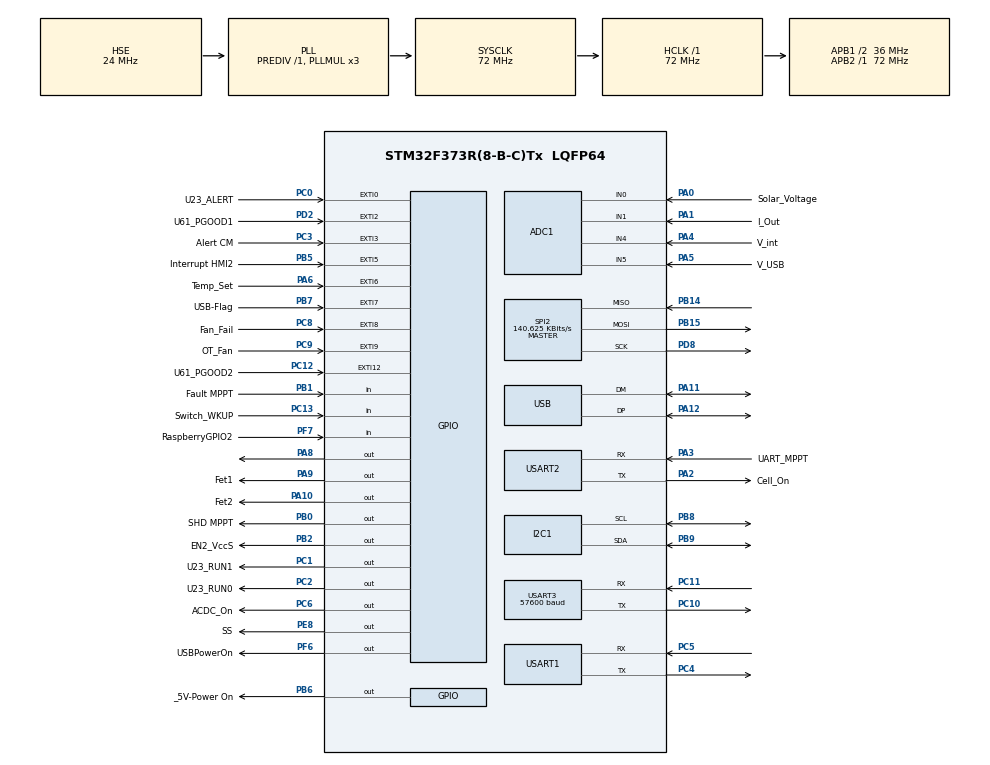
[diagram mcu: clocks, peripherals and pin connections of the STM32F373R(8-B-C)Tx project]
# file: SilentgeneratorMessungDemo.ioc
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ADC1.Channel-11\#ChannelRegularConversion=ADC_CHANNEL_0
ADC1.Channel-12\#ChannelRegularConversion=ADC_CHANNEL_1
ADC1.Channel-13\#ChannelRegularConversion=ADC_CHANNEL_4
ADC1.Channel-14\#ChannelRegularConversion=ADC_CHANNEL_5
ADC1.Channel-15\#ChannelRegularConversion=ADC_CHANNEL_TEMPSENSOR
ADC1.Channel-16\#ChannelRegularConversion=ADC_CHANNEL_5
ADC1.Channel-17\#ChannelRegularConversion=ADC_CHANNEL_VBAT
ADC1.ContinuousConvMode=ENABLE
ADC1.DataAlign=ADC_DATAALIGN_RIGHT
ADC1.DiscontinuousConvMode=DISABLE
ADC1.EnableAnalogWatchDog=false
ADC1.EnableRegularConversion=ENABLE
ADC1.InjNumberOfConversion=0
ADC1.NbrOfConversion=7
ADC1.NbrOfConversionFlag=1
ADC1.Rank-11\#ChannelRegularConversion=1
ADC1.Rank-12\#ChannelRegularConversion=2
ADC1.Rank-13\#ChannelRegularConversion=3
ADC1.Rank-14\#ChannelRegularConversion=4
ADC1.Rank-15\#ChannelRegularConversion=5
ADC1.Rank-16\#ChannelRegularConversion=6
ADC1.Rank-17\#ChannelRegularConversion=7
ADC1.SamplingTime-11\#ChannelRegularConversion=ADC_SAMPLETIME_7CYCLES_5
ADC1.SamplingTime-12\#ChannelRegularConversion=ADC_SAMPLETIME_7CYCLES_5
ADC1.SamplingTime-13\#ChannelRegularConversion=ADC_SAMPLETIME_7CYCLES_5
ADC1.SamplingTime-14\#ChannelRegularConversion=ADC_SAMPLETIME_7CYCLES_5
ADC1.SamplingTime-15\#ChannelRegularConversion=ADC_SAMPLETIME_7CYCLES_5
ADC1.SamplingTime-16\#ChannelRegularConversion=ADC_SAMPLETIME_7CYCLES_5
ADC1.SamplingTime-17\#ChannelRegularConversion=ADC_SAMPLETIME_7CYCLES_5
ADC1.ScanConvMode=ADC_SCAN_ENABLE
ADC1.master=1
Dma.ADC1.0.Direction=DMA_PERIPH_TO_MEMORY
Dma.ADC1.0.Instance=DMA1_Channel1
Dma.ADC1.0.MemDataAlignment=DMA_MDATAALIGN_WORD
Dma.ADC1.0.MemInc=DMA_MINC_ENABLE
Dma.ADC1.0.Mode=DMA_CIRCULAR
Dma.ADC1.0.PeriphDataAlignment=DMA_PDATAALIGN_WORD
Dma.ADC1.0.PeriphInc=DMA_PINC_DISABLE
Dma.ADC1.0.Priority=DMA_PRIORITY_HIGH
Dma.Request0=ADC1
Mcu.Family=STM32F3
Mcu.Name=STM32F373R(8-B-C)Tx
Mcu.Package=LQFP64
NVIC.ADC1_IRQn=true\:0\:0\:false\:false\:true\:true
NVIC.DMA1_Channel1_IRQn=true\:0\:0\:false\:false\:true\:false
NVIC.EXTI9_5_IRQn=true\:3\:0\:true\:false\:true\:true
NVIC.PriorityGroup=NVIC_PRIORITYGROUP_4
PA0.GPIO_Label=Solar_Voltage
PA0.Signal=SharedAnalog_PA0
PA1.GPIO_Label=I_Out
PA1.Signal=SharedAnalog_PA1
PA10.GPIO_Label=Fet2
PA10.Signal=GPIO_Output
PA11.Mode=Device
PA11.Signal=USB_DM
PA12.Mode=Device
PA12.Signal=USB_DP
PA2.GPIO_Label=Cell_On
PA2.Mode=Asynchronous
PA2.Signal=USART2_TX
PA3.GPIO_Label=UART_MPPT
PA3.Mode=Asynchronous
PA3.Signal=USART2_RX
PA4.GPIO_Label=V_int
PA4.Signal=SharedAnalog_PA4
PA5.GPIO_Label=V_USB
PA5.Signal=SharedAnalog_PA5
PA6.GPIO_Label=Temp_Set
PA6.Signal=GPXTI6
PA8.Signal=GPIO_Output
PA9.GPIO_Label=Fet1
PA9.Signal=GPIO_Output
PB0.GPIO_Label=SHD MPPT
PB0.Signal=GPIO_Output
PB1.GPIO_Label=Fault MPPT
PB1.Signal=GPIO_Input
PB14.Mode=Full_Duplex_Master
PB14.Signal=SPI2_MISO
PB15.Mode=Full_Duplex_Master
PB15.Signal=SPI2_MOSI
PB2.GPIO_Label=EN2_VccS
PB2.Signal=GPIO_Output
PB5.GPIO_Label=Interrupt HMI2
PB5.GPIO_ModeDefaultEXTI=GPIO_MODE_IT_FALLING
PB5.Signal=GPXTI5
PB6.GPIO_Label=_5V-Power On
PB6.Signal=GPIO_Output
PB7.GPIO_Label=USB-Flag
PB7.Signal=GPXTI7
PB8.GPIO_PuPdOD=GPIO_NOPULL
PB8.Mode=I2C
PB8.Signal=I2C1_SCL
PB9.GPIO_PuPdOD=GPIO_NOPULL
PB9.Mode=I2C
PB9.Signal=I2C1_SDA
PC0.GPIO_Label=U23_ALERT
PC0.Signal=GPXTI0
PC1.GPIO_Label=U23_RUN1
PC1.Signal=GPIO_Output
PC10.Mode=Asynchronous
PC10.Signal=USART3_TX
PC11.Mode=Asynchronous
PC11.Signal=USART3_RX
PC12.GPIO_Label=U61_PGOOD2
PC12.Signal=GPXTI12
PC13.GPIO_Label=Switch_WKUP
PC13.Signal=GPIO_Input
PC14-OSC32_IN.Mode=LSE-External-Oscillator
PC14-OSC32_IN.Signal=RCC_OSC32_IN
PC15-OSC32_OUT.Mode=LSE-External-Oscillator
PC15-OSC32_OUT.Signal=RCC_OSC32_OUT
PC2.GPIO_Label=U23_RUN0
PC2.Signal=GPIO_Output
PC3.GPIO_Label=Alert CM
PC3.Signal=GPXTI3
PC4.Mode=Asynchronous
PC4.Signal=USART1_TX
PC5.Mode=Asynchronous
PC5.Signal=USART1_RX
PC6.GPIO_Label=ACDC_On
PC6.Signal=GPIO_Output
PC8.GPIO_Label=Fan_Fail
PC8.Signal=GPXTI8
PC9.GPIO_Label=OT_Fan
PC9.Signal=GPXTI9
PD2.GPIO_Label=U61_PGOOD1
PD2.Signal=GPXTI2
PD8.Mode=Full_Duplex_Master
PD8.Signal=SPI2_SCK
PE8.GPIO_Label=SS
PE8.Signal=GPIO_Output
PF0-OSC_IN.Mode=HSE-External-Oscillator
PF0-OSC_IN.Signal=RCC_OSC_IN
PF1-OSC_OUT.Mode=HSE-External-Oscillator
PF1-OSC_OUT.Signal=RCC_OSC_OUT
PF6.GPIO_Label=USBPowerOn
PF6.Signal=GPIO_Output
PF7.GPIO_Label=RaspberryGPIO2
PF7.Signal=GPIO_Input
ProjectManager.HeapSize=0x200
ProjectManager.StackSize=0x400
ProjectManager.TargetToolchain=TrueSTUDIO
RCC.ADCPresc=RCC_ADC1PCLK2_DIV4
RCC.AHBFreq_Value=72000000
RCC.APB1CLKDivider=RCC_HCLK_DIV2
RCC.APB1Freq_Value=36000000
RCC.APB1TimFreq_Value=72000000
RCC.APB2Freq_Value=72000000
RCC.APB2TimFreq_Value=72000000
RCC.CortexFreq_Value=72000000
RCC.HCLKFreq_Value=72000000
RCC.HSE_VALUE=24000000
RCC.HSI_VALUE=8000000
RCC.PLLMUL=RCC_PLL_MUL3
RCC.PRESCALERUSB=RCC_USBCLKSOURCE_PLL_DIV1_5
RCC.SYSCLKFreq_VALUE=72000000
RCC.SYSCLKSource=RCC_SYSCLKSOURCE_PLLCLK
RCC.USBFreq_Value=48000000
SH.SharedAnalog_PA0.0=GPIO_Analog
SH.SharedAnalog_PA0.1=ADC1_IN0,IN0
SH.SharedAnalog_PA1.0=GPIO_Analog
SH.SharedAnalog_PA1.1=ADC1_IN1,IN1
SH.SharedAnalog_PA4.0=GPIO_Analog
SH.SharedAnalog_PA4.1=ADC1_IN4,IN4
SH.SharedAnalog_PA5.0=GPIO_Analog
SH.SharedAnalog_PA5.1=ADC1_IN5,IN5
SPI2.BaudRatePrescaler=SPI_BAUDRATEPRESCALER_256
SPI2.CalculateBaudRate=140.625 KBits/s
SPI2.DataSize=SPI_DATASIZE_8BIT
SPI2.Direction=SPI_DIRECTION_2LINES
SPI2.Mode=SPI_MODE_MASTER
SPI2.VirtualType=VM_MASTER
USART1.VirtualMode-Asynchronous=VM_ASYNC
USART2.VirtualMode-Asynchronous=VM_ASYNC
USART3.BaudRate=57600
USART3.VirtualMode-Asynchronous=VM_ASYNC
VP_ADC1_TempSens_Input.Mode=IN-TempSens
VP_ADC1_Vbat_Input.Mode=IN-Vbat
board=SilentgeneratorMessungDemo

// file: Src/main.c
/* USER CODE BEGIN Header */
/**
  ******************************************************************************
  * @file           : main.c
  * @brief          : Main program body
  ******************************************************************************
  ** This notice applies to any and all portions of this file
  * that are not between comment pairs USER CODE BEGIN and
  * USER CODE END. Other portions of this file, whether
  * inserted by the user or by software development tools
  * are owned by their respective copyright owners.
  *
  * COPYRIGHT(c) 2019 STMicroelectronics
  *
  * Redistribution and use in source and binary forms, with or without modification,
  * are permitted provided that the following conditions are met:
  *   1. Redistributions of source code must retain the above copyright notice,
  *      this list of conditions and the following disclaimer.
  *   2. Redistributions in binary form must reproduce the above copyright notice,
  *      this list of conditions and the following disclaimer in the documentation
  *      and/or other materials provided with the distribution.
  *   3. Neither the name of STMicroelectronics nor the names of its contributors
  *      may be used to endorse or promote products derived from this software
  *      without specific prior written permission.
  *
  * THIS SOFTWARE IS PROVIDED BY THE COPYRIGHT HOLDERS AND CONTRIBUTORS "AS IS"
  * AND ANY EXPRESS OR IMPLIED WARRANTIES, INCLUDING, BUT NOT LIMITED TO, THE
  * IMPLIED WARRANTIES OF MERCHANTABILITY AND FITNESS FOR A PARTICULAR PURPOSE ARE
  * DISCLAIMED. IN NO EVENT SHALL THE COPYRIGHT HOLDER OR CONTRIBUTORS BE LIABLE
  * FOR ANY DIRECT, INDIRECT, INCIDENTAL, SPECIAL, EXEMPLARY, OR CONSEQUENTIAL
  * DAMAGES (INCLUDING, BUT NOT LIMITED TO, PROCUREMENT OF SUBSTITUTE GOODS OR
  * SERVICES; LOSS OF USE, DATA, OR PROFITS; OR BUSINESS INTERRUPTION) HOWEVER
  * CAUSED AND ON ANY THEORY OF LIABILITY, WHETHER IN CONTRACT, STRICT LIABILITY,
  * OR TORT (INCLUDING NEGLIGENCE OR OTHERWISE) ARISING IN ANY WAY OUT OF THE USE
  * OF THIS SOFTWARE, EVEN IF ADVISED OF THE POSSIBILITY OF SUCH DAMAGE.
  *
  ******************************************************************************
  */
/* USER CODE END Header */

#include "main.h"

/* USER CODE BEGIN Includes */
#include "silentgenerator.h"
#include "max11615.h"     // ADC
#include "max7313.h"      // I/O Port Expander
#include "max3440x.h"     //
#include "ltc3886.h"      // DCDC Buck Converter
#include "max6615.h"      // PWM Fan Controller
// #include "ringfs.h"

#include <string.h>
#include <stdio.h>
#include <stdbool.h>

/* Flash implementation & ops. */
#define FLASH_SECTOR_SIZE      65535
#define FLASH_TOTAL_SECTORS    64
#define FLASH_PARTITION_OFFSET 8
#define FLASH_PARTITION_SIZE   4

/* USER CODE END Includes */

ADC_HandleTypeDef hadc1;
DMA_HandleTypeDef hdma_adc1;

I2C_HandleTypeDef hi2c1;

SPI_HandleTypeDef hspi2;

UART_HandleTypeDef huart1;
UART_HandleTypeDef huart2;
UART_HandleTypeDef huart3;

PCD_HandleTypeDef hpcd_USB_FS;

/* USER CODE BEGIN PV */
/* Private variables ---------------------------------------------------------*/
uint32_t ADC_Buf[8];
/* USER CODE END PV */

void SystemClock_Config(void);
static void MX_GPIO_Init(void);
static void MX_DMA_Init(void);
static void MX_USART1_UART_Init(void);
static void MX_USART2_UART_Init(void);
static void MX_I2C1_Init(void);
static void MX_SPI2_Init(void);
static void MX_USART3_UART_Init(void);
static void MX_ADC1_Init(void);
static void MX_USB_PCD_Init(void);
/* USER CODE BEGIN PFP */
/* Private function prototypes -----------------------------------------------*/

/* USER CODE END PFP */

/* USER CODE BEGIN 0 */

/* Data record format. */
struct log_entry {
    int level;
    char message[16];
};
#define LOG_ENTRY_VERSION 1

MAX11615 adcDriver_1;
MAX3440X adcMonitor_1;
MAX7313 huiIODriver_1;
MAX7313 huiIODriver_2;
MAX7313 fetDriver;
MAX7313* ledDrivers[3];

MAX6615 fanDriver;
LTC3886 dcdc12VDriver;

volatile SGButtons 	button_states_old, \
										button_states_new, \
										button_action_required;
static uint8_t 	SG_Enabled_USB = 0, \
								SG_Enabled_AC = 0, \
								SG_Enabled_Solar = 0, \
								SG_Enabled_DC = 0;
volatile uint32_t display_delay = 0;

volatile uint8_t ERR_FLAG_USB = 0;

/* STATE MACHINE Begin */
typedef enum {St_SG_Off, St_SG_On, N_States} state_t;
typedef state_t state_func_t(void);

// OFF
state_t state_func_sg_off(void){
  if( button_states_new.SW5 > button_states_old.SW5 ){
    printf("turning ON\n");
    MAX7313_Pin_Write( ledDrivers[ SG_CHIP_LED_GRN_5 ], SG_PORT_LED_GRN_5, SG_HUI_LED_BRIGHT_ON);
		display_delay = 20000;
    return St_SG_On;
  }
  return St_SG_Off;
}

// ON
state_t state_func_sg_on(void){
  if( button_states_new.SW5 > button_states_old.SW5 ){
    printf("turning OFF\n");
    HAL_GPIO_WritePin( SG_USBPowerOn_GPIO_Port, SG_USBPowerOn_Pin, GPIO_PIN_RESET );
    HAL_GPIO_WritePin( SG_5V_Power_On_GPIO_Port, SG_5V_Power_On_Pin, GPIO_PIN_RESET );
    MAX7313_Pin_Write( ledDrivers[ SG_CHIP_LED_GRN_5 ], SG_PORT_LED_GRN_5, 15);
		/** @todo restliche Funktionen ausschalten */
		SG_LED_SetAll(15);
		SG_Enabled_Solar = 0;
		SG_Enabled_AC = 0;
		SG_Enabled_DC = 0;
		SG_Enabled_USB = 0;
		printf("OFF\n");

    return St_SG_Off;   // back to OFF State
  }
	/* BEGIN Silentgenerator MAIN LOOP */

	/** @todo: dem Programmvorschlag entsprechend */

	display_delay += SG_TIME_DEBOUNCE;

	if(display_delay >= 1000){
		SG_BAT_LED_Update(ADC_Buf[2], 0);
		printf("Vint:\t%d\t%0.4f V\t%d\n", ADC_Buf[2], \
		SG_ADC_GetVint(ADC_Buf[2]), \
		SG_Battery_StateOfCharge(SG_ADC_GetVint(ADC_Buf[2])));
		SG_BAT_LED_Update(ADC_Buf[2], 1);
		display_delay = 0;
	}

	/* BUTTON SOLAR */
	if(button_action_required.SW1){
		button_action_required.SW1 = 0;
		if(SG_Enabled_Solar){
			printf("Solar is OFF\n");
			MAX7313_Pin_Write( ledDrivers[ SG_CHIP_LED_GRN_1 ], SG_PORT_LED_GRN_1, SG_BAT_LED_BRIGHT_OFF);
			SG_Enabled_Solar = 0;
		} else {
			printf("Solar is ON\n");
			MAX7313_Pin_Write( ledDrivers[ SG_CHIP_LED_GRN_1 ], SG_PORT_LED_GRN_1, SG_BAT_LED_BRIGHT_ON);
			SG_Enabled_Solar = 1;
		}
	}
	/* BUTTON DC */
	if(button_action_required.SW2){
		button_action_required.SW2 = 0;
		if(SG_Enabled_DC){
			printf("DC is OFF\n");
			MAX7313_Pin_Write( ledDrivers[ SG_CHIP_LED_GRN_2 ], SG_PORT_LED_GRN_2, SG_BAT_LED_BRIGHT_OFF);
			SG_Enabled_DC = 0;
		} else {
			printf("DC is ON\n");
			MAX7313_Pin_Write( ledDrivers[ SG_CHIP_LED_GRN_2 ], SG_PORT_LED_GRN_2, SG_HUI_LED_BRIGHT_ON);
			SG_Enabled_DC = 1;
		}
	}
	/* BUTTON USB */
	if(button_action_required.SW3){
		button_action_required.SW3 = 0;
		if(SG_Enabled_USB){
			printf("USB is OFF\n");
			MAX7313_Pin_Write( ledDrivers[ SG_CHIP_LED_GRN_3 ], SG_PORT_LED_GRN_3, SG_BAT_LED_BRIGHT_OFF);
			SG_Enabled_USB = 0;
			HAL_GPIO_WritePin(SG_USBPowerOn_GPIO_Port, SG_USBPowerOn_Pin, GPIO_PIN_RESET);
			HAL_GPIO_WritePin( SG_5V_Power_On_GPIO_Port, SG_5V_Power_On_Pin, GPIO_PIN_RESET );
		} else {
			printf("USB is ON\n");
			MAX7313_Pin_Write( ledDrivers[ SG_CHIP_LED_GRN_3 ], SG_PORT_LED_GRN_3, SG_BAT_LED_BRIGHT_ON);
			MAX7313_Pin_Write( ledDrivers[ SG_CHIP_LED_RED_3 ], SG_PORT_LED_RED_3, SG_BAT_LED_BRIGHT_OFF);
			SG_Enabled_USB = 1;
			HAL_GPIO_WritePin(SG_USBPowerOn_GPIO_Port, SG_USBPowerOn_Pin, GPIO_PIN_SET);
			HAL_GPIO_WritePin( SG_5V_Power_On_GPIO_Port, SG_5V_Power_On_Pin, GPIO_PIN_SET );
		}
	}
	/* BUTTON AC */
	if(button_action_required.SW4){
		button_action_required.SW4 = 0;
		if(SG_Enabled_AC){
			printf("AC is OFF\n");
			MAX7313_Pin_Write( ledDrivers[ SG_CHIP_LED_GRN_4 ], SG_PORT_LED_GRN_4, SG_BAT_LED_BRIGHT_OFF);
			SG_Enabled_AC = 0;
		} else {
			printf("AC is ON\n");
			MAX7313_Pin_Write( ledDrivers[ SG_CHIP_LED_GRN_4 ], SG_PORT_LED_GRN_4, SG_BAT_LED_BRIGHT_ON);
			SG_Enabled_AC = 1;
		}
	}

	/* ERROR FLAGS from Interrupt Pins */
	if(ERR_FLAG_USB){
		ERR_FLAG_USB = 0;
		printf("USB ERROR - USB is OFF\n");
		MAX7313_Pin_Write( ledDrivers[ SG_CHIP_LED_GRN_3 ], SG_PORT_LED_GRN_3, SG_BAT_LED_BRIGHT_OFF);
		MAX7313_Pin_Write( ledDrivers[ SG_CHIP_LED_RED_3 ], SG_PORT_LED_RED_3, SG_BAT_LED_BRIGHT_ON);
		SG_Enabled_USB = 0;
	}

	/* END Silentgenerator MAIN LOOP */
  return St_SG_On;
}

/* State Table */
state_func_t* const state_table[ N_States ] = {
  state_func_sg_off,
  state_func_sg_on
};

/* Execute State Machine */
state_t run_state(state_t state_now){
  return state_table[ state_now ]();    // Pointer conversation Error
};

/* STATE MACHINE END */

/* PRINTF REDIRECT to UART BEGIN */
// @see    http://www.keil.com/forum/60531/
// @see    https://stackoverflow.com/questions/45535126/stm32-printf-redirect
struct __FILE{
  int handle;
  /* Whatever you require here. If the only file you are using is */
  /* standard output using printf() for debugging, no file handling */
  /* is required. */
};

FILE __stdout;

int fputc(int ch, FILE *f){
  /* Your implementation of fputc(). */
  HAL_UART_Transmit(&huart3, (uint8_t *)&ch, 1, 0xFFFF);
  return ch;
}

int ferror(FILE *f){
  /* Your implementation of ferror(). */
  return 0;
}
/* PRINTF REDIRECT to UART END */

/* USER CODE END 0 */

int main(void)
{

  /* MCU Configuration--------------------------------------------------------*/

  /* Reset of all peripherals, Initializes the Flash interface and the Systick. */
  HAL_Init();

  /* Configure the system clock */
  SystemClock_Config();

  /* Initialize all configured peripherals */
  MX_GPIO_Init();
  MX_DMA_Init();
  MX_USART1_UART_Init();
  MX_USART2_UART_Init();
  MX_I2C1_Init();
  MX_SPI2_Init();
  MX_USART3_UART_Init();
  MX_ADC1_Init();
  MX_USB_PCD_Init();
  /* USER CODE BEGIN 2 */
  HAL_ADC_Start_DMA(&hadc1, ADC_Buf, 7);
  HAL_ADC_Start_IT(&hadc1);

	/* Always call ringfs_init first. */
	/*
	struct ringfs fs;
	ringfs_init(&fs, &flash, LOG_ENTRY_VERSION, sizeof(struct log_entry));
	printf("# scanning for filesystem...\n");
	if (ringfs_scan(&fs) == 0) {
		printf("# found existing filesystem, usage: %d/%d\n",
			ringfs_count_estimate(&fs),
      ringfs_capacity(&fs));
	} else {
		printf("# no valid filesystem found, formatting.\n");
		ringfs_format(&fs);
	}
	*/

	/* Append data using ringfs_append. Oldest data is removed as needed. */
	//printf("# inserting some objects\n");
	//ringfs_append(&fs, &(struct log_entry) { 1, "foo" });

  // MAX11615 analog ref: internal + reference not connected + internal reference always on
  MAX11615_Init(&adcDriver_1, &hi2c1, SG_ADDRESS_MAX11615_DCDC_1, 4+2+1);
  SG_MAX7313_Init();
	MAX3440X_Init(&adcMonitor_1,  &hi2c1, SG_ADDRESS_MAX3440X_MPPT_1);
	LTC3886_Init (&dcdc12VDriver, &hi2c1, SG_ADDRESS_LTC3886);
	MAX6615_Init (&fanDriver,     &hi2c1, SG_ADDRESS_MAX6615);

  button_states_new.SW5 = 0;
  button_states_old.SW5 = 0;

  state_t state = St_SG_Off; 		// start in off state

	printf("\nETA Systems Silentgenerator\n");
	printf("Embedded Software Version (in development)\n\n");

	HAL_Delay(1000);
  SG_I2C_ScanAddresses(&hi2c1); 	// testing: scan for available I2S devices
	SG_LED_SetAll(15);
	MAX7313_Pin_Write( ledDrivers[ SG_CHIP_LED_ERROR ], SG_PORT_LED_ERROR, 0);
	HAL_Delay(200);
	MAX7313_Pin_Write( ledDrivers[ SG_CHIP_LED_ERROR ], SG_PORT_LED_ERROR, 15);
	//uint8_t pwmspeed1 = 0, pwmspeed2 = 0;
	//MAX6615_PWM_EnableManual(&fanDriver, 1);
	//MAX6615_PWM_EnableManual(&fanDriver, 2);
  MAX6615_PWM_EnableAutomatic(&fanDriver, 1, 10, 50);
  MAX6615_PWM_EnableAutomatic(&fanDriver, 2, 10, 50);
	MAX6615_SetTempOffset(&fanDriver, 1, -5);
	MAX6615_SetTempOffset(&fanDriver, 2, -6);

	SG_BTN_ReadSW5(&button_states_new);      // poll SW5 (Main SW) state
	HAL_Delay(10);

	//uint8_t asdf[5] = {0, 0, 0, 0, 0};

  /* USER CODE END 2 */

  /* Infinite loop */
  while (1)
  {

    /* USER CODE BEGIN 3 */

    /* MAIN SilentGenerator PROGRAM LOOP */

    SG_BTN_ReadSW5(&button_states_new);      // poll SW5 (Main SW) state
    state = run_state(state);                // run state machine
		HAL_Delay(SG_TIME_DEBOUNCE);             // wait for 10~50ms
		button_states_old = button_states_new;   // refresh button states

  }
  /* USER CODE END 3 */
}

void SystemClock_Config(void)
{
  RCC_OscInitTypeDef RCC_OscInitStruct = {0};
  RCC_ClkInitTypeDef RCC_ClkInitStruct = {0};
  RCC_PeriphCLKInitTypeDef PeriphClkInit = {0};

  /**Initializes the CPU, AHB and APB busses clocks
  */
  RCC_OscInitStruct.OscillatorType = RCC_OSCILLATORTYPE_HSI|RCC_OSCILLATORTYPE_HSE;
  RCC_OscInitStruct.HSEState = RCC_HSE_ON;
  RCC_OscInitStruct.HSEPredivValue = RCC_HSE_PREDIV_DIV1;
  RCC_OscInitStruct.HSIState = RCC_HSI_ON;
  RCC_OscInitStruct.HSICalibrationValue = RCC_HSICALIBRATION_DEFAULT;
  RCC_OscInitStruct.PLL.PLLState = RCC_PLL_ON;
  RCC_OscInitStruct.PLL.PLLSource = RCC_PLLSOURCE_HSE;
  RCC_OscInitStruct.PLL.PLLMUL = RCC_PLL_MUL3;
  if (HAL_RCC_OscConfig(&RCC_OscInitStruct) != HAL_OK)
  {
    Error_Handler();
  }
  /**Initializes the CPU, AHB and APB busses clocks
  */
  RCC_ClkInitStruct.ClockType = RCC_CLOCKTYPE_HCLK|RCC_CLOCKTYPE_SYSCLK
                              |RCC_CLOCKTYPE_PCLK1|RCC_CLOCKTYPE_PCLK2;
  RCC_ClkInitStruct.SYSCLKSource = RCC_SYSCLKSOURCE_PLLCLK;
  RCC_ClkInitStruct.AHBCLKDivider = RCC_SYSCLK_DIV1;
  RCC_ClkInitStruct.APB1CLKDivider = RCC_HCLK_DIV2;
  RCC_ClkInitStruct.APB2CLKDivider = RCC_HCLK_DIV1;

  if (HAL_RCC_ClockConfig(&RCC_ClkInitStruct, FLASH_LATENCY_2) != HAL_OK)
  {
    Error_Handler();
  }
  PeriphClkInit.PeriphClockSelection = RCC_PERIPHCLK_USB|RCC_PERIPHCLK_USART1
                              |RCC_PERIPHCLK_USART2|RCC_PERIPHCLK_USART3
                              |RCC_PERIPHCLK_I2C1|RCC_PERIPHCLK_ADC1;
  PeriphClkInit.Usart1ClockSelection = RCC_USART1CLKSOURCE_PCLK2;
  PeriphClkInit.Usart2ClockSelection = RCC_USART2CLKSOURCE_PCLK1;
  PeriphClkInit.Usart3ClockSelection = RCC_USART3CLKSOURCE_PCLK1;
  PeriphClkInit.I2c1ClockSelection = RCC_I2C1CLKSOURCE_HSI;
  PeriphClkInit.USBClockSelection = RCC_USBCLKSOURCE_PLL_DIV1_5;
  PeriphClkInit.Adc1ClockSelection = RCC_ADC1PCLK2_DIV4;

  if (HAL_RCCEx_PeriphCLKConfig(&PeriphClkInit) != HAL_OK)
  {
    Error_Handler();
  }
}

static void MX_ADC1_Init(void)
{

  ADC_ChannelConfTypeDef sConfig = {0};

  /**Common config
  */
  hadc1.Instance = ADC1;
  hadc1.Init.ScanConvMode = ADC_SCAN_ENABLE;
  hadc1.Init.ContinuousConvMode = ENABLE;
  hadc1.Init.DiscontinuousConvMode = DISABLE;
  hadc1.Init.ExternalTrigConv = ADC_SOFTWARE_START;
  hadc1.Init.DataAlign = ADC_DATAALIGN_RIGHT;
  hadc1.Init.NbrOfConversion = 7;
  if (HAL_ADC_Init(&hadc1) != HAL_OK)
  {
    Error_Handler();
  }
  /**Configure Regular Channel
  */
  sConfig.Channel = ADC_CHANNEL_0;
  sConfig.Rank = ADC_REGULAR_RANK_1;
  sConfig.SamplingTime = ADC_SAMPLETIME_7CYCLES_5;
  if (HAL_ADC_ConfigChannel(&hadc1, &sConfig) != HAL_OK)
  {
    Error_Handler();
  }
  /**Configure Regular Channel
  */
  sConfig.Channel = ADC_CHANNEL_1;
  sConfig.Rank = ADC_REGULAR_RANK_2;
  if (HAL_ADC_ConfigChannel(&hadc1, &sConfig) != HAL_OK)
  {
    Error_Handler();
  }
  /**Configure Regular Channel
  */
  sConfig.Channel = ADC_CHANNEL_4;
  sConfig.Rank = ADC_REGULAR_RANK_3;
  if (HAL_ADC_ConfigChannel(&hadc1, &sConfig) != HAL_OK)
  {
    Error_Handler();
  }
  /**Configure Regular Channel
  */
  sConfig.Channel = ADC_CHANNEL_5;
  sConfig.Rank = ADC_REGULAR_RANK_4;
  if (HAL_ADC_ConfigChannel(&hadc1, &sConfig) != HAL_OK)
  {
    Error_Handler();
  }
  /**Configure Regular Channel
  */
  sConfig.Channel = ADC_CHANNEL_TEMPSENSOR;
  sConfig.Rank = ADC_REGULAR_RANK_5;
  if (HAL_ADC_ConfigChannel(&hadc1, &sConfig) != HAL_OK)
  {
    Error_Handler();
  }
  /**Configure Regular Channel
  */
  sConfig.Channel = ADC_CHANNEL_5;
  sConfig.Rank = ADC_REGULAR_RANK_6;
  if (HAL_ADC_ConfigChannel(&hadc1, &sConfig) != HAL_OK)
  {
    Error_Handler();
  }
  /**Configure Regular Channel
  */
  sConfig.Channel = ADC_CHANNEL_VBAT;
  sConfig.Rank = ADC_REGULAR_RANK_7;
  if (HAL_ADC_ConfigChannel(&hadc1, &sConfig) != HAL_OK)
  {
    Error_Handler();
  }

}

static void MX_I2C1_Init(void)
{

  hi2c1.Instance = I2C1;
  hi2c1.Init.Timing = 0x2000090E;
  hi2c1.Init.OwnAddress1 = 0;
  hi2c1.Init.AddressingMode = I2C_ADDRESSINGMODE_7BIT;
  hi2c1.Init.DualAddressMode = I2C_DUALADDRESS_DISABLE;
  hi2c1.Init.OwnAddress2 = 0;
  hi2c1.Init.OwnAddress2Masks = I2C_OA2_NOMASK;
  hi2c1.Init.GeneralCallMode = I2C_GENERALCALL_DISABLE;
  hi2c1.Init.NoStretchMode = I2C_NOSTRETCH_DISABLE;
  if (HAL_I2C_Init(&hi2c1) != HAL_OK)
  {
    Error_Handler();
  }
  /**Configure Analogue filter
  */
  if (HAL_I2CEx_ConfigAnalogFilter(&hi2c1, I2C_ANALOGFILTER_ENABLE) != HAL_OK)
  {
    Error_Handler();
  }
  /**Configure Digital filter
  */
  if (HAL_I2CEx_ConfigDigitalFilter(&hi2c1, 0) != HAL_OK)
  {
    Error_Handler();
  }

}

static void MX_SPI2_Init(void)
{

  /* SPI2 parameter configuration*/
  hspi2.Instance = SPI2;
  hspi2.Init.Mode = SPI_MODE_MASTER;
  hspi2.Init.Direction = SPI_DIRECTION_2LINES;
  hspi2.Init.DataSize = SPI_DATASIZE_8BIT;
  hspi2.Init.CLKPolarity = SPI_POLARITY_LOW;
  hspi2.Init.CLKPhase = SPI_PHASE_1EDGE;
  hspi2.Init.NSS = SPI_NSS_SOFT;
  hspi2.Init.BaudRatePrescaler = SPI_BAUDRATEPRESCALER_256;
  hspi2.Init.FirstBit = SPI_FIRSTBIT_MSB;
  hspi2.Init.TIMode = SPI_TIMODE_DISABLE;
  hspi2.Init.CRCCalculation = SPI_CRCCALCULATION_DISABLE;
  hspi2.Init.CRCPolynomial = 7;
  hspi2.Init.CRCLength = SPI_CRC_LENGTH_DATASIZE;
  hspi2.Init.NSSPMode = SPI_NSS_PULSE_ENABLE;
  if (HAL_SPI_Init(&hspi2) != HAL_OK)
  {
    Error_Handler();
  }

}

static void MX_USART1_UART_Init(void)
{

  huart1.Instance = USART1;
  huart1.Init.BaudRate = 38400;
  huart1.Init.WordLength = UART_WORDLENGTH_8B;
  huart1.Init.StopBits = UART_STOPBITS_1;
  huart1.Init.Parity = UART_PARITY_NONE;
  huart1.Init.Mode = UART_MODE_TX_RX;
  huart1.Init.HwFlowCtl = UART_HWCONTROL_NONE;
  huart1.Init.OverSampling = UART_OVERSAMPLING_16;
  huart1.Init.OneBitSampling = UART_ONE_BIT_SAMPLE_DISABLE;
  huart1.AdvancedInit.AdvFeatureInit = UART_ADVFEATURE_NO_INIT;
  if (HAL_UART_Init(&huart1) != HAL_OK)
  {
    Error_Handler();
  }

}

static void MX_USART2_UART_Init(void)
{

  huart2.Instance = USART2;
  huart2.Init.BaudRate = 38400;
  huart2.Init.WordLength = UART_WORDLENGTH_8B;
  huart2.Init.StopBits = UART_STOPBITS_1;
  huart2.Init.Parity = UART_PARITY_NONE;
  huart2.Init.Mode = UART_MODE_TX_RX;
  huart2.Init.HwFlowCtl = UART_HWCONTROL_NONE;
  huart2.Init.OverSampling = UART_OVERSAMPLING_16;
  huart2.Init.OneBitSampling = UART_ONE_BIT_SAMPLE_DISABLE;
  huart2.AdvancedInit.AdvFeatureInit = UART_ADVFEATURE_NO_INIT;
  if (HAL_UART_Init(&huart2) != HAL_OK)
  {
    Error_Handler();
  }

}

static void MX_USART3_UART_Init(void)
{

  huart3.Instance = USART3;
  huart3.Init.BaudRate = 57600;
  huart3.Init.WordLength = UART_WORDLENGTH_8B;
  huart3.Init.StopBits = UART_STOPBITS_1;
  huart3.Init.Parity = UART_PARITY_NONE;
  huart3.Init.Mode = UART_MODE_TX_RX;
  huart3.Init.HwFlowCtl = UART_HWCONTROL_NONE;
  huart3.Init.OverSampling = UART_OVERSAMPLING_16;
  huart3.Init.OneBitSampling = UART_ONE_BIT_SAMPLE_DISABLE;
  huart3.AdvancedInit.AdvFeatureInit = UART_ADVFEATURE_NO_INIT;
  if (HAL_UART_Init(&huart3) != HAL_OK)
  {
    Error_Handler();
  }

}

static void MX_USB_PCD_Init(void)
{

  hpcd_USB_FS.Instance = USB;
  hpcd_USB_FS.Init.dev_endpoints = 8;
  hpcd_USB_FS.Init.speed = PCD_SPEED_FULL;
  hpcd_USB_FS.Init.ep0_mps = DEP0CTL_MPS_64;
  hpcd_USB_FS.Init.phy_itface = PCD_PHY_EMBEDDED;
  hpcd_USB_FS.Init.low_power_enable = DISABLE;
  hpcd_USB_FS.Init.battery_charging_enable = DISABLE;
  if (HAL_PCD_Init(&hpcd_USB_FS) != HAL_OK)
  {
    Error_Handler();
  }

}

static void MX_DMA_Init(void)
{
  /* DMA controller clock enable */
  __HAL_RCC_DMA1_CLK_ENABLE();

  /* DMA interrupt init */
  /* DMA1_Channel1_IRQn interrupt configuration */
  HAL_NVIC_SetPriority(DMA1_Channel1_IRQn, 0, 0);
  HAL_NVIC_EnableIRQ(DMA1_Channel1_IRQn);

}

static void MX_GPIO_Init(void)
{
  GPIO_InitTypeDef GPIO_InitStruct = {0};

  /* GPIO Ports Clock Enable */
  __HAL_RCC_GPIOC_CLK_ENABLE();
  __HAL_RCC_GPIOF_CLK_ENABLE();
  __HAL_RCC_GPIOA_CLK_ENABLE();
  __HAL_RCC_GPIOB_CLK_ENABLE();
  __HAL_RCC_GPIOE_CLK_ENABLE();
  __HAL_RCC_GPIOD_CLK_ENABLE();

  /*Configure GPIO pin Output Level */
  HAL_GPIO_WritePin(GPIOC, U23_RUN1_Pin|U23_RUN0_Pin|ACDC_On_Pin, GPIO_PIN_RESET);

  /*Configure GPIO pin Output Level */
  HAL_GPIO_WritePin(GPIOB, SHD_MPPT_Pin|EN2_VccS_Pin|_5V_Power_On_Pin, GPIO_PIN_RESET);

  /*Configure GPIO pin Output Level */
  HAL_GPIO_WritePin(SS_GPIO_Port, SS_Pin, GPIO_PIN_RESET);

  /*Configure GPIO pin Output Level */
  HAL_GPIO_WritePin(GPIOA, GPIO_PIN_8|Fet1_Pin|Fet2_Pin, GPIO_PIN_RESET);

  /*Configure GPIO pin Output Level */
  HAL_GPIO_WritePin(USBPowerOn_GPIO_Port, USBPowerOn_Pin, GPIO_PIN_RESET);

  /*Configure GPIO pin : Switch_WKUP_Pin */
  GPIO_InitStruct.Pin = Switch_WKUP_Pin;
  GPIO_InitStruct.Mode = GPIO_MODE_INPUT;
  GPIO_InitStruct.Pull = GPIO_NOPULL;
  HAL_GPIO_Init(Switch_WKUP_GPIO_Port, &GPIO_InitStruct);

  /*Configure GPIO pins : U23_ALERT_Pin Alert_CM_Pin Fan_Fail_Pin OT_Fan_Pin
                           U61_PGOOD2_Pin */
  GPIO_InitStruct.Pin = U23_ALERT_Pin|Alert_CM_Pin|Fan_Fail_Pin|OT_Fan_Pin
                          |U61_PGOOD2_Pin;
  GPIO_InitStruct.Mode = GPIO_MODE_IT_RISING;
  GPIO_InitStruct.Pull = GPIO_NOPULL;
  HAL_GPIO_Init(GPIOC, &GPIO_InitStruct);

  /*Configure GPIO pins : U23_RUN1_Pin U23_RUN0_Pin ACDC_On_Pin */
  GPIO_InitStruct.Pin = U23_RUN1_Pin|U23_RUN0_Pin|ACDC_On_Pin;
  GPIO_InitStruct.Mode = GPIO_MODE_OUTPUT_PP;
  GPIO_InitStruct.Pull = GPIO_NOPULL;
  GPIO_InitStruct.Speed = GPIO_SPEED_FREQ_LOW;
  HAL_GPIO_Init(GPIOC, &GPIO_InitStruct);

  /*Configure GPIO pins : Solar_Voltage_Pin I_Out_Pin V_int_Pin V_USB_Pin */
  GPIO_InitStruct.Pin = Solar_Voltage_Pin|I_Out_Pin|V_int_Pin|V_USB_Pin;
  GPIO_InitStruct.Mode = GPIO_MODE_ANALOG;
  GPIO_InitStruct.Pull = GPIO_NOPULL;
  HAL_GPIO_Init(GPIOA, &GPIO_InitStruct);

  /*Configure GPIO pin : Temp_Set_Pin */
  GPIO_InitStruct.Pin = Temp_Set_Pin;
  GPIO_InitStruct.Mode = GPIO_MODE_IT_RISING;
  GPIO_InitStruct.Pull = GPIO_NOPULL;
  HAL_GPIO_Init(Temp_Set_GPIO_Port, &GPIO_InitStruct);

  /*Configure GPIO pins : SHD_MPPT_Pin EN2_VccS_Pin _5V_Power_On_Pin */
  GPIO_InitStruct.Pin = SHD_MPPT_Pin|EN2_VccS_Pin|_5V_Power_On_Pin;
  GPIO_InitStruct.Mode = GPIO_MODE_OUTPUT_PP;
  GPIO_InitStruct.Pull = GPIO_NOPULL;
  GPIO_InitStruct.Speed = GPIO_SPEED_FREQ_LOW;
  HAL_GPIO_Init(GPIOB, &GPIO_InitStruct);

  /*Configure GPIO pin : Fault_MPPT_Pin */
  GPIO_InitStruct.Pin = Fault_MPPT_Pin;
  GPIO_InitStruct.Mode = GPIO_MODE_INPUT;
  GPIO_InitStruct.Pull = GPIO_NOPULL;
  HAL_GPIO_Init(Fault_MPPT_GPIO_Port, &GPIO_InitStruct);

  /*Configure GPIO pin : SS_Pin */
  GPIO_InitStruct.Pin = SS_Pin;
  GPIO_InitStruct.Mode = GPIO_MODE_OUTPUT_PP;
  GPIO_InitStruct.Pull = GPIO_NOPULL;
  GPIO_InitStruct.Speed = GPIO_SPEED_FREQ_LOW;
  HAL_GPIO_Init(SS_GPIO_Port, &GPIO_InitStruct);

  /*Configure GPIO pins : PA8 Fet1_Pin Fet2_Pin */
  GPIO_InitStruct.Pin = GPIO_PIN_8|Fet1_Pin|Fet2_Pin;
  GPIO_InitStruct.Mode = GPIO_MODE_OUTPUT_PP;
  GPIO_InitStruct.Pull = GPIO_NOPULL;
  GPIO_InitStruct.Speed = GPIO_SPEED_FREQ_LOW;
  HAL_GPIO_Init(GPIOA, &GPIO_InitStruct);

  /*Configure GPIO pin : USBPowerOn_Pin */
  GPIO_InitStruct.Pin = USBPowerOn_Pin;
  GPIO_InitStruct.Mode = GPIO_MODE_OUTPUT_PP;
  GPIO_InitStruct.Pull = GPIO_NOPULL;
  GPIO_InitStruct.Speed = GPIO_SPEED_FREQ_LOW;
  HAL_GPIO_Init(USBPowerOn_GPIO_Port, &GPIO_InitStruct);

  /*Configure GPIO pin : RaspberryGPIO2_Pin */
  GPIO_InitStruct.Pin = RaspberryGPIO2_Pin;
  GPIO_InitStruct.Mode = GPIO_MODE_INPUT;
  GPIO_InitStruct.Pull = GPIO_NOPULL;
  HAL_GPIO_Init(RaspberryGPIO2_GPIO_Port, &GPIO_InitStruct);

  /*Configure GPIO pin : U61_PGOOD1_Pin */
  GPIO_InitStruct.Pin = U61_PGOOD1_Pin;
  GPIO_InitStruct.Mode = GPIO_MODE_IT_RISING;
  GPIO_InitStruct.Pull = GPIO_NOPULL;
  HAL_GPIO_Init(U61_PGOOD1_GPIO_Port, &GPIO_InitStruct);

  /*Configure GPIO pin : Interrupt_HMI2_Pin */
  GPIO_InitStruct.Pin = Interrupt_HMI2_Pin;
  GPIO_InitStruct.Mode = GPIO_MODE_IT_FALLING;
  GPIO_InitStruct.Pull = GPIO_NOPULL;
  HAL_GPIO_Init(Interrupt_HMI2_GPIO_Port, &GPIO_InitStruct);

  /*Configure GPIO pin : USB_Flag_Pin */
  GPIO_InitStruct.Pin = USB_Flag_Pin;
  GPIO_InitStruct.Mode = GPIO_MODE_IT_RISING;
  GPIO_InitStruct.Pull = GPIO_NOPULL;
  HAL_GPIO_Init(USB_Flag_GPIO_Port, &GPIO_InitStruct);

  /* EXTI interrupt init*/
  HAL_NVIC_SetPriority(EXTI9_5_IRQn, 3, 0);
  HAL_NVIC_EnableIRQ(EXTI9_5_IRQn);

}

void Error_Handler(void)
{
  while(1)
  {
  }
}

/************************ (C) COPYRIGHT STMicroelectronics *****END OF FILE****/
